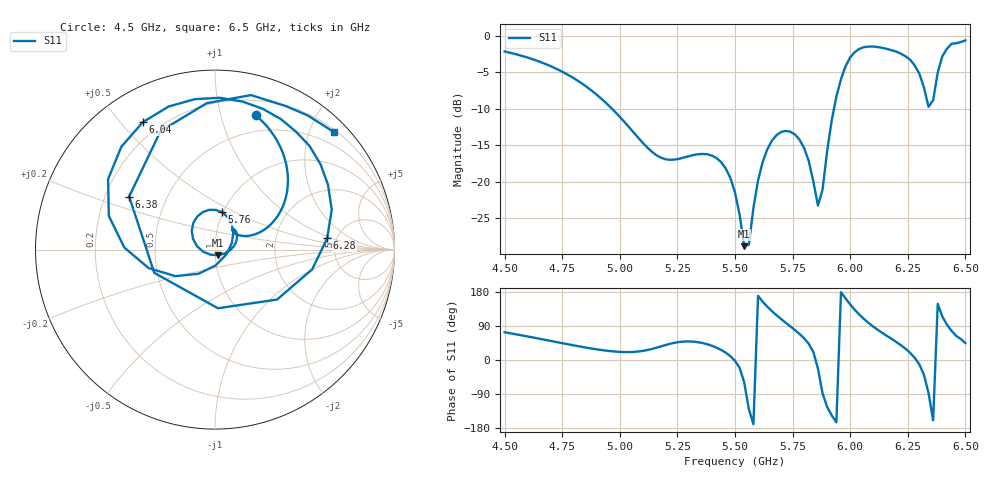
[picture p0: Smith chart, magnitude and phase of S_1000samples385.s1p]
! TOUCHSTONE file generated by CST MICROWAVE STUDIO
! Date and time: Thu Oct 27 23:54:09 2022
! Project name: L.cst
! Parameters = {Di=1.27; Epsilon_r=1.56; InnerDiameter=1.27; Length=2; Lf=10; Lg=60; OuterConductorThickness=0.2921; OuterDiameter=3.6; Wf=3; Wp=41.2; de=1.5; df=6.8; g=0.8; gx=1.77197; gy=3.60639; h=2.34; hf=1.524; px=13.8922; py=8.43499; w=9.7; wx=12.1202; wy=4.8286}
! Header version: 2018
! Port assignment regex: !\s*Touchstone port\s*([0-9]+)\s*=\s*(CST MWS port|CST DS port)\s*([0-9]+|Zmin|Zmax)\s*\(\"(.*)\"\)(\s*mode\s*([0-9]+))?.*
! Touchstone port assignment:
! Touchstone port 1 = CST MWS port 1 ("")
# GHz S DB R 50
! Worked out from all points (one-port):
!   101 points, 4.5 GHz to 6.5 GHz, reference 50 ohm
!   lowest |S11| = -28.8 dB at 5.54 GHz (marker M1), VSWR 1.08, Z = 51.8 - j3.23 ohm
!   |S11| at or under -10 dB: 4.967 GHz to 5.93 GHz (962.6 MHz wide, 17.7 % of centre)
!   S11 on the Smith chart (normalised r, x): 4.5 GHz: 0.33, +1.29; 5.76 GHz: 0.99, +0.43; 6.04 GHz: 0.14, +0.57; 6.28 GHz: 4.19, +0.88; 6.38 GHz: 0.30, +0.26; 6.5 GHz: 0.24, +2.41
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4.5  -2.12 73.2
4.76  -5.06 43.2
5  -11.08 21.4
5.16  -16.36 32.6
5.26  -16.81 47.7
5.42  -16.73 32.6
5.5  -21.45 -2.2
5.54  -28.80 -59.1
5.56  -28.60 -129.5
5.6  -19.80 169.3
5.64  -15.54 140.9
5.76  -13.49 79.1
5.82  -17.12 42.9
5.86  -23.23 -22.6
5.94  -8.32 -164.4
6  -2.93 146.6
6.04  -1.77 119.6
6.08  -1.46 97.7
6.14  -1.64 71.3
6.26  -3.25 18.9
6.28  -4.04 5.8
6.32  -7.05 -38.8
6.34  -9.70 -87.1
6.36  -8.82 -159.0
6.38  -5.00 148.3
6.4  -2.77 114.7
6.42  -1.75 93.2
6.5  -0.62 44.8
